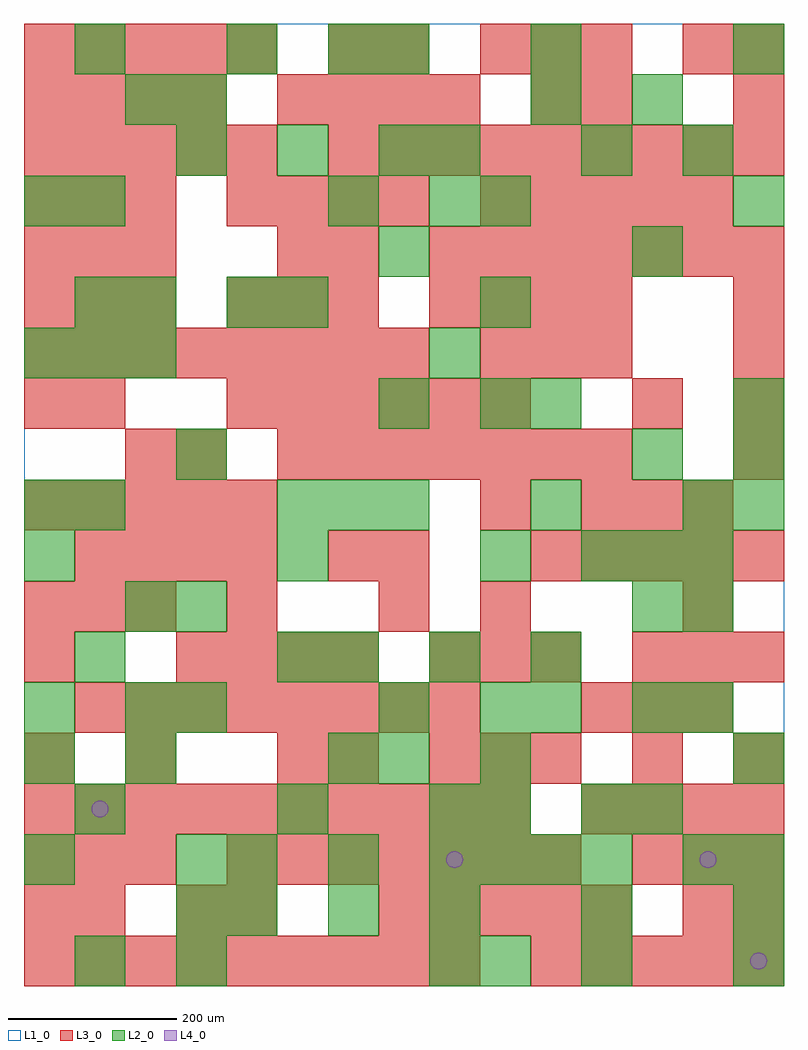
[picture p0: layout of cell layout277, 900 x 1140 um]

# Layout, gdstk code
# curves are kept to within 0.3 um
import gdstk
lib = gdstk.Library(unit=1e-6, precision=1e-09)
def R(c, l, rs):  # rectangles x0, y0, x1, y1
    for r in rs: c.add(gdstk.rectangle(r[:2], r[2:], *l))
def A(c, l, x, y, w, h, nx, ny, dx, dy):  # array of equal rectangles
    R(c, l, [(x+i*dx, y+j*dy, x+i*dx+w, y+j*dy+h) for i in range(nx) for j in range(ny)])
def P(c, l, *ps):  # polygons
    for p in ps: c.add(gdstk.Polygon(p, *l))
L1_0 = (1, 0)
L2_0 = (2, 0)
L3_0 = (3, 0)
L4_0 = (4, 0)

layout277 = lib.new_cell('layout277')
R(layout277, L1_0, [(0,0,900,1140)])
A(layout277, L2_0, 60, 0, 60, 60, 1, 4, 0, 180)
A(layout277, L2_0, 180, 0, 60, 60, 1, 3, 0, 60)
A(layout277, L2_0, 840, 0, 60, 60, 1, 3, 0, 60)
A(layout277, L2_0, 240, 60, 60, 60, 3, 2, 120, 60)
A(layout277, L2_0, 540, 120, 60, 60, 3, 1, 60, 0)
A(layout277, L2_0, 540, 180, 60, 60, 1, 3, 0, 60)
A(layout277, L2_0, 720, 180, 60, 60, 1, 3, 0, 120)
A(layout277, L2_0, 780, 300, 60, 60, 1, 3, 0, 120)
A(layout277, L2_0, 360, 360, 60, 60, 3, 1, 120, 0)
A(layout277, L2_0, 660, 480, 60, 60, 3, 1, 60, 0)
A(layout277, L2_0, 300, 540, 60, 60, 3, 1, 60, 0)
A(layout277, L2_0, 840, 540, 60, 60, 1, 3, 0, 60)
A(layout277, L2_0, 540, 660, 60, 60, 1, 3, 0, 120)
A(layout277, L2_0, 0, 720, 60, 60, 3, 1, 60, 0)
A(layout277, L2_0, 180, 960, 60, 60, 3, 1, 120, 0)
R(layout277, L2_0, [(480,0,540,60), (540,0,600,60), (660,0,720,60), (660,60,720,120), (0,120,60,180), (780,120,840,180), (300,180,360,240), (480,180,540,240), (660,180,720,240), (0,240,60,300), (120,240,180,300), (360,240,420,300), (420,240,480,300), (840,240,900,300), (0,300,60,360), (120,300,180,360), (180,300,240,360), (420,300,480,360), (600,300,660,360), (300,360,360,420), (120,420,180,480), (180,420,240,480), (0,480,60,540), (300,480,360,540), (540,480,600,540), (0,540,60,600), (600,540,660,600), (180,600,240,660), (720,600,780,660), (420,660,480,720), (600,660,660,720), (480,720,540,780), (60,780,120,840), (120,780,180,840), (240,780,300,840), (300,780,360,840), (420,840,480,900), (720,840,780,900), (0,900,60,960), (60,900,120,960), (360,900,420,960), (480,900,540,960), (840,900,900,960), (480,960,540,1020), (660,960,720,1020), (780,960,840,1020), (120,1020,180,1080), (180,1020,240,1080), (600,1020,660,1080), (720,1020,780,1080), (60,1080,120,1140), (240,1080,300,1140), (360,1080,420,1140), (420,1080,480,1140), (600,1080,660,1140), (840,1080,900,1140)])
A(layout277, L3_0, 0, 0, 60, 60, 9, 1, 60, 0)
A(layout277, L3_0, 600, 0, 60, 60, 5, 2, 60, 480)
A(layout277, L3_0, 420, 60, 60, 60, 5, 1, 60, 0)
A(layout277, L3_0, 0, 120, 60, 60, 3, 2, 60, 300)
A(layout277, L3_0, 240, 120, 60, 60, 7, 1, 60, 0)
A(layout277, L3_0, 720, 120, 60, 60, 3, 2, 60, 240)
A(layout277, L3_0, 0, 180, 60, 60, 10, 1, 60, 0)
A(layout277, L3_0, 660, 180, 60, 60, 4, 1, 60, 0)
A(layout277, L3_0, 480, 240, 60, 60, 3, 2, 60, 120)
A(layout277, L3_0, 60, 300, 60, 60, 8, 1, 60, 0)
A(layout277, L3_0, 660, 300, 60, 60, 3, 2, 60, 240)
A(layout277, L3_0, 180, 360, 60, 60, 4, 1, 60, 0)
A(layout277, L3_0, 60, 480, 60, 60, 4, 1, 60, 0)
A(layout277, L3_0, 0, 540, 60, 60, 5, 2, 60, 420)
A(layout277, L3_0, 300, 600, 60, 60, 7, 1, 60, 0)
A(layout277, L3_0, 840, 600, 60, 60, 1, 4, 0, 60)
A(layout277, L3_0, 240, 660, 60, 60, 6, 1, 60, 0)
A(layout277, L3_0, 0, 720, 60, 60, 8, 1, 60, 0)
A(layout277, L3_0, 540, 720, 60, 60, 3, 2, 60, 360)
A(layout277, L3_0, 0, 780, 60, 60, 3, 3, 60, 60)
A(layout277, L3_0, 240, 780, 60, 60, 3, 1, 60, 0)
A(layout277, L3_0, 480, 780, 60, 60, 4, 1, 60, 0)
A(layout277, L3_0, 480, 840, 60, 60, 7, 1, 60, 0)
A(layout277, L3_0, 240, 900, 60, 60, 4, 1, 60, 0)
A(layout277, L3_0, 540, 900, 60, 60, 5, 1, 60, 0)
A(layout277, L3_0, 360, 960, 60, 60, 9, 1, 60, 0)
A(layout277, L3_0, 0, 1020, 60, 60, 4, 1, 60, 0)
A(layout277, L3_0, 300, 1020, 60, 60, 4, 1, 60, 0)
A(layout277, L3_0, 0, 1080, 60, 60, 5, 1, 60, 0)
R(layout277, L3_0, [(0,60,60,120), (60,60,120,120), (180,60,240,120), (240,60,300,120), (780,60,840,120), (840,60,900,120), (0,240,60,300), (120,240,180,300), (300,240,360,300), (360,240,420,300), (720,240,780,300), (840,240,900,300), (0,360,60,420), (240,420,300,480), (420,420,480,480), (540,420,600,480), (780,420,840,480), (360,480,420,540), (420,480,480,540), (540,540,600,600), (120,600,180,660), (180,600,240,660), (0,660,60,720), (60,660,120,720), (720,660,780,720), (300,840,360,900), (360,840,420,900), (600,1020,660,1080), (660,1020,720,1080), (840,1020,900,1080), (360,1080,420,1140), (420,1080,480,1140), (780,1080,840,1140), (840,1080,900,1140)])
P(layout277, L4_0, [(100,210),(99.239,213.827),(97.071,217.071),(93.827,219.239),(90,220),(86.173,219.239),(82.929,217.071),(80.761,213.827),(80,210),(80.761,206.173),(82.929,202.929),(86.173,200.761),(90,200),(93.827,200.761),(97.071,202.929),(99.239,206.173)],
  [(520,150),(519.239,153.827),(517.071,157.071),(513.827,159.239),(510,160),(506.173,159.239),(502.929,157.071),(500.761,153.827),(500,150),(500.761,146.173),(502.929,142.929),(506.173,140.761),(510,140),(513.827,140.761),(517.071,142.929),(519.239,146.173)],
  [(820,150),(819.239,153.827),(817.071,157.071),(813.827,159.239),(810,160),(806.173,159.239),(802.929,157.071),(800.761,153.827),(800,150),(800.761,146.173),(802.929,142.929),(806.173,140.761),(810,140),(813.827,140.761),(817.071,142.929),(819.239,146.173)],
  [(880,30),(879.239,33.827),(877.071,37.071),(873.827,39.239),(870,40),(866.173,39.239),(862.929,37.071),(860.761,33.827),(860,30),(860.761,26.173),(862.929,22.929),(866.173,20.761),(870,20),(873.827,20.761),(877.071,22.929),(879.239,26.173)])

lib.write_gds('layout277.gds')
